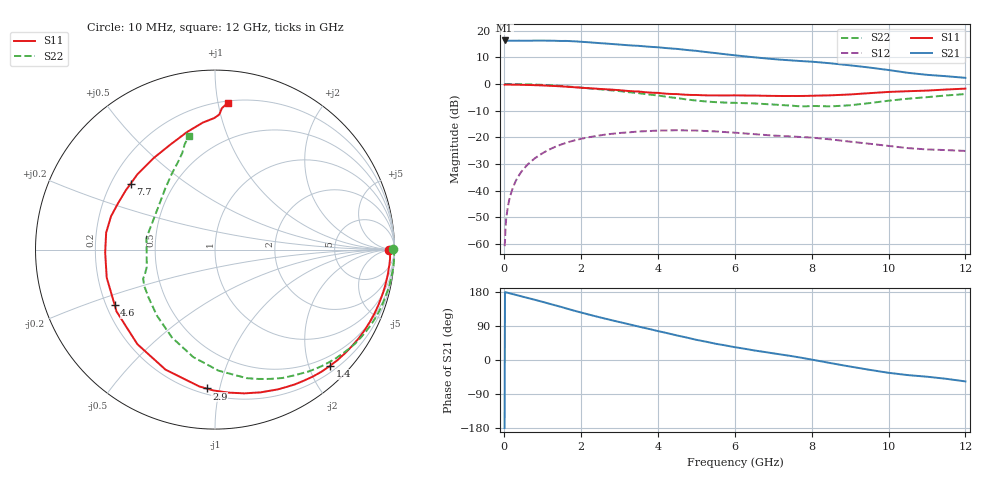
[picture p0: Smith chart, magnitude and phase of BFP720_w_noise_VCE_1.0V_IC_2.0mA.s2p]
! Infineon Technologies  Discrete & RF Semiconductors
! BFP720
! VCE =  1.0 V,  IC =  2.0 mA
! Common Emitter S-Parameters:  Aug 2012
# GHz  S  MA  R  50
!  f  S11  S21  S12  S22
! GHz  MAG  ANG  MAG  ANG  MAG  ANG  MAG  ANG
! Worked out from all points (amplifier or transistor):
!   105 points, 10 MHz to 12 GHz, reference 50 ohm
!   highest |S21| = 16.4 dB at 10 MHz (marker M1)
!   |S21| within 3 dB of that: start of sweep to 4.331 GHz
!   unconditionally stable (mu >= 1): 8.217 GHz to end of sweep
!   at 300 MHz: K = 0.01, MSG = 26.3 dB, |S12| = -36.4 dB
!   at 3.6 GHz: K = 0.30, MSG = 16.0 dB, |S12| = -17.8 dB
!   at 12 GHz: K = 1.07, MAG = 12.2 dB, |S12| = -25.1 dB
!   lowest NFmin = 0.39 dB at 450 MHz
!   S11 on the Smith chart (normalised r, x): 10 MHz: 67, -4; 1.4 GHz: 0.31, -2.36; 2.9 GHz: 0.24, -0.91; 4.6 GHz: 0.23, -0.24; 7.7 GHz: 0.28, +0.32; 12 GHz: 0.21, +1.07
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0.01  0.9706 -0.1  6.586 -179.6  0.0009 -25.0  0.9936 0.3
0.02  0.9767 -0.6  6.417 179.2  0.0011 79.7  0.9995 -0.5
0.05  0.9759 -1.5  6.504 178.3  0.0029 92.8  0.9983 -1.3
0.08  0.9762 -2.4  6.497 177.7  0.0042 88.5  0.9987 -2.1
0.3  0.9715 -9.2  6.505 171.9  0.0151 83.7  0.9958 -7.5
0.8  0.9521 -25.1  6.556 158.8  0.0404 72.4  0.9775 -20.5
1.4  0.9107 -45.4  6.461 142.3  0.0694 57.8  0.9283 -36.6
1.7  0.8818 -56.0  6.411 133.6  0.0823 50.2  0.893 -44.7
2.1  0.843 -69.0  6.151 122.7  0.0968 40.5  0.8428 -54.8
2.5  0.808 -81.4  5.858 112.3  0.1087 31.4  0.7949 -64.6
2.9  0.7752 -93.5  5.579 102.5  0.1182 23.1  0.7473 -74.0
3.5  0.7237 -112.3  5.218 88.1  0.1285 11.1  0.6744 -88.4
4.1  0.6695 -132.9  4.823 74.1  0.1339 -0.4  0.5947 -104.1
4.6  0.6381 -151.2  4.484 62.5  0.1351 -9.6  0.5315 -118.8
5  0.6232 -165.5  4.202 53.2  0.1337 -16.8  0.4901 -131.3
5.5  0.6121 -178.5  3.813 42.9  0.1288 -24.8  0.457 -144.0
6.1  0.6114 169.4  3.407 32.2  0.1205 -32.7  0.4407 -153.8
7.7  0.5964 142.1  2.707 6.5  0.1013 -47.3  0.382 -175.3
8.5  0.614 123.8  2.449 -8.3  0.0911 -55.5  0.3807 155.7
9.5  0.6737 103.3  2.042 -25.8  0.0756 -60.5  0.4379 129.4
10.5  0.733 90.3  1.626 -39.8  0.0626 -61.2  0.5296 112.9
12  0.8195 85.1  1.307 -56.5  0.0554 -57.5  0.6489 103.0
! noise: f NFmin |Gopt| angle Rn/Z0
0.45  0.39  0.68  5  0.26
1.8  0.53  0.62  29  0.21
2.4  0.62  0.52  76  0.19
5.5  0.87  0.39  86  0.14
10  1.32  0.47  -108  0.22
